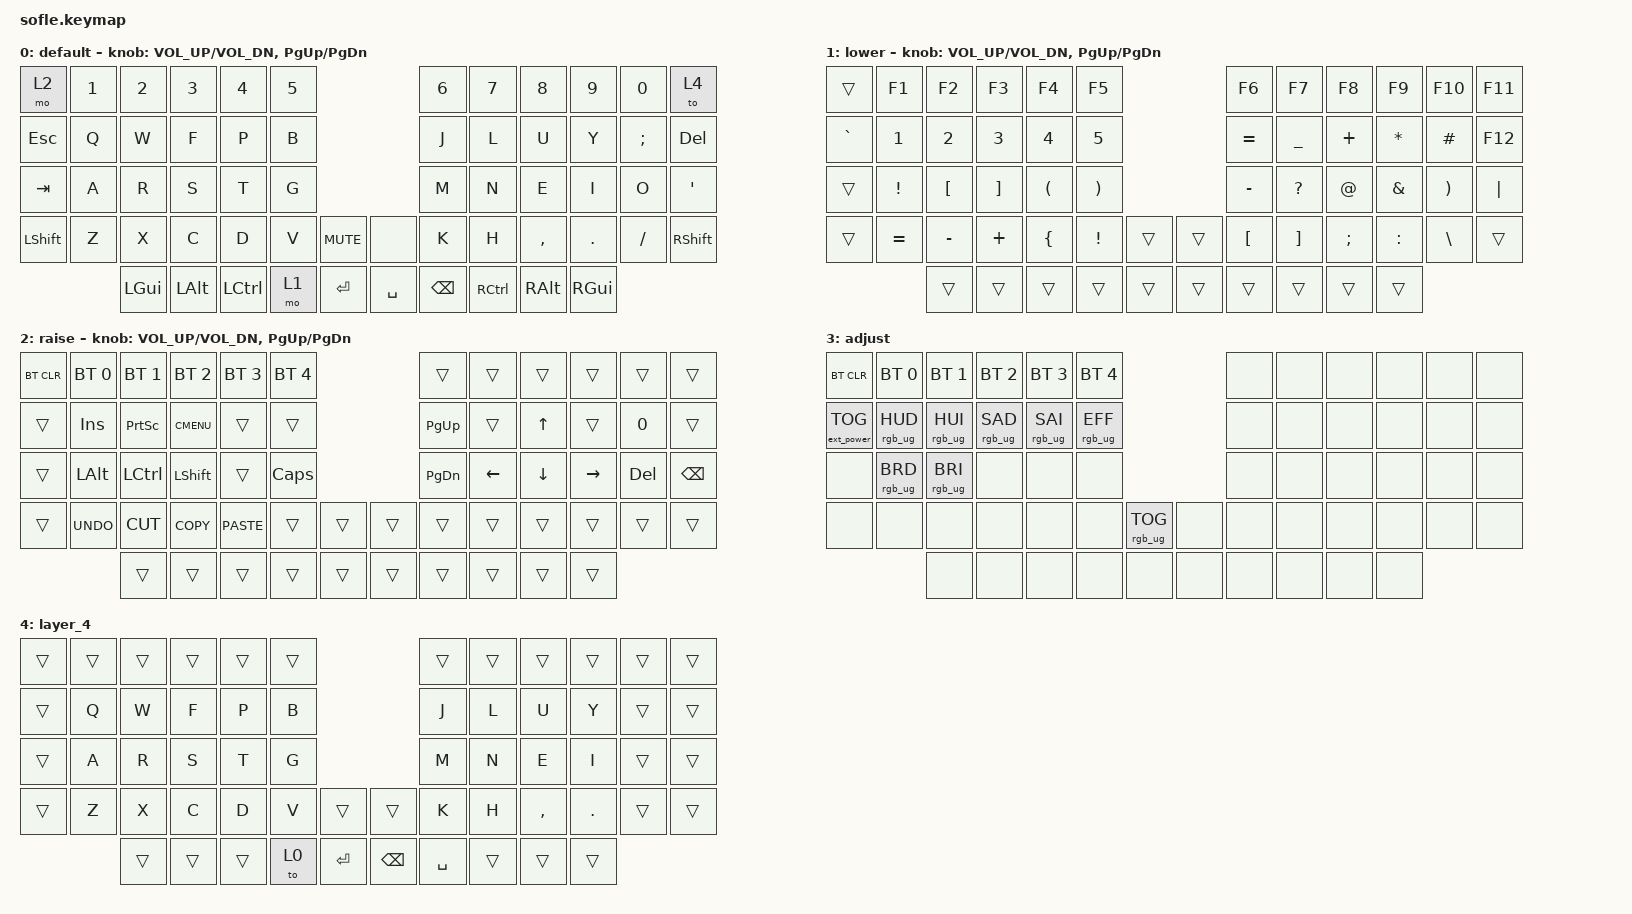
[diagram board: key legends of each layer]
/*
 * Copyright (c) 2020 The ZMK Contributors
 *
 * SPDX-License-Identifier: MIT
 */

#include <behaviors.dtsi>
#include <dt-bindings/zmk/bt.h>
#include <dt-bindings/zmk/ext_power.h>
#include <dt-bindings/zmk/keys.h>
#include <dt-bindings/zmk/rgb.h>

#define BASE 0
#define LOWER 1
#define RAISE 2
#define ADJUST 3

/ {
    // Activate ADJUST layer by pressing raise and lower

    conditional_layers {
        compatible = "zmk,conditional-layers";

        adjust_layer {
            if-layers = <1 2>;
            then-layer = <3>;
        };
    };

    keymap {
        compatible = "zmk,keymap";

        default_layer {
            display-name = "default";

            // ------------------------------------------------------------------------------------------------------------
            // |   `   |  1  |  2  |  3   |  4   |  5   |                   |  6   |  7    |  8    |  9   |   0   |       |
            // |  ESC  |  Q  |  W  |  E   |  R   |  T   |                   |  Y   |  U    |  I    |  O   |   P   | BKSPC |
            // |  TAB  |  A  |  S  |  D   |  F   |  G   |                   |  H   |  J    |  K    |  L   |   ;   |   '   |
            // | SHIFT |  Z  |  X  |  C   |  V   |  B   |  MUTE  |  |       |  N   |  M    |  ,    |  .   |   /   | SHIFT |
            //               | GUI | ALT  | CTRL | LOWER|  ENTER |  | SPACE | RAISE| CTRL  | ALT   | GUI  |

            bindings = <
&mo 2      &kp N1  &kp N2    &kp N3    &kp N4     &kp N5                           &kp N6         &kp N7     &kp N8     &kp N9    &kp N0         &to 4
&kp ESC    &kp Q   &kp W     &kp F     &kp P      &kp B                            &kp J          &kp L      &kp U      &kp Y     &kp SEMICOLON  &kp DEL
&kp TAB    &kp A   &kp R     &kp S     &kp T      &kp G                            &kp M          &kp N      &kp E      &kp I     &kp O          &kp SQT
&kp LSHFT  &kp Z   &kp X     &kp C     &kp D      &kp V   &kp C_MUTE    &none      &kp K          &kp H      &kp COMMA  &kp DOT   &kp FSLH       &kp RSHFT
                   &kp LGUI  &kp LALT  &kp LCTRL  &mo 1   &kp RET       &kp SPACE  &kp BACKSPACE  &kp RCTRL  &kp RALT   &kp RGUI
            >;

            sensor-bindings = <&inc_dec_kp C_VOL_UP C_VOL_DN &inc_dec_kp PG_UP PG_DN>;
        };

        lower_layer {
            display-name = "lower";

            // TODO: Some binds are waiting for shifted keycode support.
            // ------------------------------------------------------------------------------------------------------------
            // |       |  F1 |  F2 |  F3  |  F4  |  F5  |                   |  F6  |  F7   |  F8   |  F9  |  F10  |  F11  |
            // |   `   |  1  |  2  |  3   |  4   |  5   |                   |  6   |  7    |  8    |  9   |   0   |  F12  |
            // |       |  !  |  @  |  #   |  $   |  %   |                   |  ^   |  &    |  *    |  (   |   )   |   |   |
            // |       |  =  |  -  |  +   |  {   |  }   |        |  |       |  [   |  ]    |  ;    |  :   |   \   |       |
            //               |     |      |      |      |        |  |       |      |       |       |      |

            bindings = <
&trans     &kp F1     &kp F2            &kp F3             &kp F4                &kp F5                                   &kp F6     &kp F7        &kp F8    &kp F9     &kp F10   &kp F11
&kp GRAVE  &kp N1     &kp N2            &kp N3             &kp N4                &kp N5                                   &kp EQUAL  &kp UNDER     &kp PLUS  &kp ASTRK  &kp HASH  &kp F12
&trans     &kp EXCL   &kp LEFT_BRACKET  &kp RIGHT_BRACKET  &kp LEFT_PARENTHESIS  &kp RIGHT_PARENTHESIS                    &kp MINUS  &kp QUESTION  &kp AT    &kp AMPS   &kp RPAR  &kp PIPE
&trans     &kp EQUAL  &kp MINUS         &kp PLUS           &kp LBRC              &kp EXCL               &trans    &trans  &kp LBKT   &kp RBKT      &kp SEMI  &kp COLON  &kp BSLH  &trans
                      &trans            &trans             &trans                &trans                 &trans    &trans  &trans     &trans        &trans    &trans
            >;

            sensor-bindings = <&inc_dec_kp C_VOL_UP C_VOL_DN &inc_dec_kp PG_UP PG_DN>;
        };

        raise_layer {
            display-name = "raise";

            // ------------------------------------------------------------------------------------------------------------
            // | BTCLR | BT1  | BT2  |  BT3  |  BT4  |  BT5 |                |      |      |       |      |       |       |
            // |       | INS  | PSCR | GUI   |       |      |                | PGUP |      |   ^   |      |       |       |
            // |       | ALT  | CTRL | SHIFT |       | CAPS |                | PGDN |   <- |   v   |  ->  |  DEL  | BKSPC |
            // |       | UNDO | CUT  | COPY  | PASTE |      |      |  |      |      |      |       |      |       |       |
            //                |      |       |       |      |      |  |      |      |      |       |      |

            bindings = <
&bt BT_CLR  &bt BT_SEL 0  &bt BT_SEL 1  &bt BT_SEL 2  &bt BT_SEL 3  &bt BT_SEL 4                    &trans     &trans    &trans    &trans     &trans   &trans
&trans      &kp INS       &kp PSCRN     &kp K_CMENU   &trans        &trans                          &kp PG_UP  &trans    &kp UP    &trans     &kp N0   &trans
&trans      &kp LALT      &kp LCTRL     &kp LSHFT     &trans        &kp CLCK                        &kp PG_DN  &kp LEFT  &kp DOWN  &kp RIGHT  &kp DEL  &kp BSPC
&trans      &kp K_UNDO    &kp K_CUT     &kp K_COPY    &kp K_PASTE   &trans        &trans    &trans  &trans     &trans    &trans    &trans     &trans   &trans
                          &trans        &trans        &trans        &trans        &trans    &trans  &trans     &trans    &trans    &trans
            >;

            sensor-bindings = <&inc_dec_kp C_VOL_UP C_VOL_DN &inc_dec_kp PG_UP PG_DN>;
        };

        adjust_layer {
            // ----------------------------------------------------------------------------------------------------------------------------
            // | BTCLR  |  BT1    |  BT2    |   BT3   |   BT4   |   BT5   |                  |      |      |       |      |       |       |
            // | EXTPWR | RGB_HUD | RGB_HUI | RGB_SAD | RGB_SAI | RGB_EFF |                  |      |      |       |      |       |       |
            // |        | RGB_BRD | RGB_BRI |         |         |         |                  |      |      |       |      |       |       |
            // |        |         |         |         |         |         | RGB_TOG | |      |      |      |       |      |       |       |
            //                    |         |         |         |         |         | |      |      |      |       |      |

            display-name = "adjust";
            bindings = <
&bt BT_CLR         &bt BT_SEL 0     &bt BT_SEL 1     &bt BT_SEL 2     &bt BT_SEL 3     &bt BT_SEL 4                               &none  &none  &none  &none  &none  &none
&ext_power EP_TOG  &rgb_ug RGB_HUD  &rgb_ug RGB_HUI  &rgb_ug RGB_SAD  &rgb_ug RGB_SAI  &rgb_ug RGB_EFF                            &none  &none  &none  &none  &none  &none
&none              &rgb_ug RGB_BRD  &rgb_ug RGB_BRI  &none            &none            &none                                      &none  &none  &none  &none  &none  &none
&none              &none            &none            &none            &none            &none            &rgb_ug RGB_TOG    &none  &none  &none  &none  &none  &none  &none
                                    &none            &none            &none            &none            &none              &none  &none  &none  &none  &none
            >;
        };

        layer_4 {
            bindings = <
&trans  &trans  &trans  &trans  &trans  &trans                              &trans     &trans  &trans     &trans      &trans  &trans
&trans  &kp Q   &kp W   &kp F   &kp P   &kp B                               &kp J      &kp L   &kp U      &kp Y       &trans  &trans
&trans  &kp A   &kp R   &kp S   &kp T   &kp G                               &kp M      &kp N   &kp E      &kp I       &trans  &trans
&trans  &kp Z   &kp X   &kp C   &kp D   &kp V   &trans       &trans         &kp K      &kp H   &kp COMMA  &kp PERIOD  &trans  &trans
                &trans  &trans  &trans  &to 0   &kp ENTER    &kp BACKSPACE  &kp SPACE  &trans  &trans     &trans
            >;
        };
    };
};
